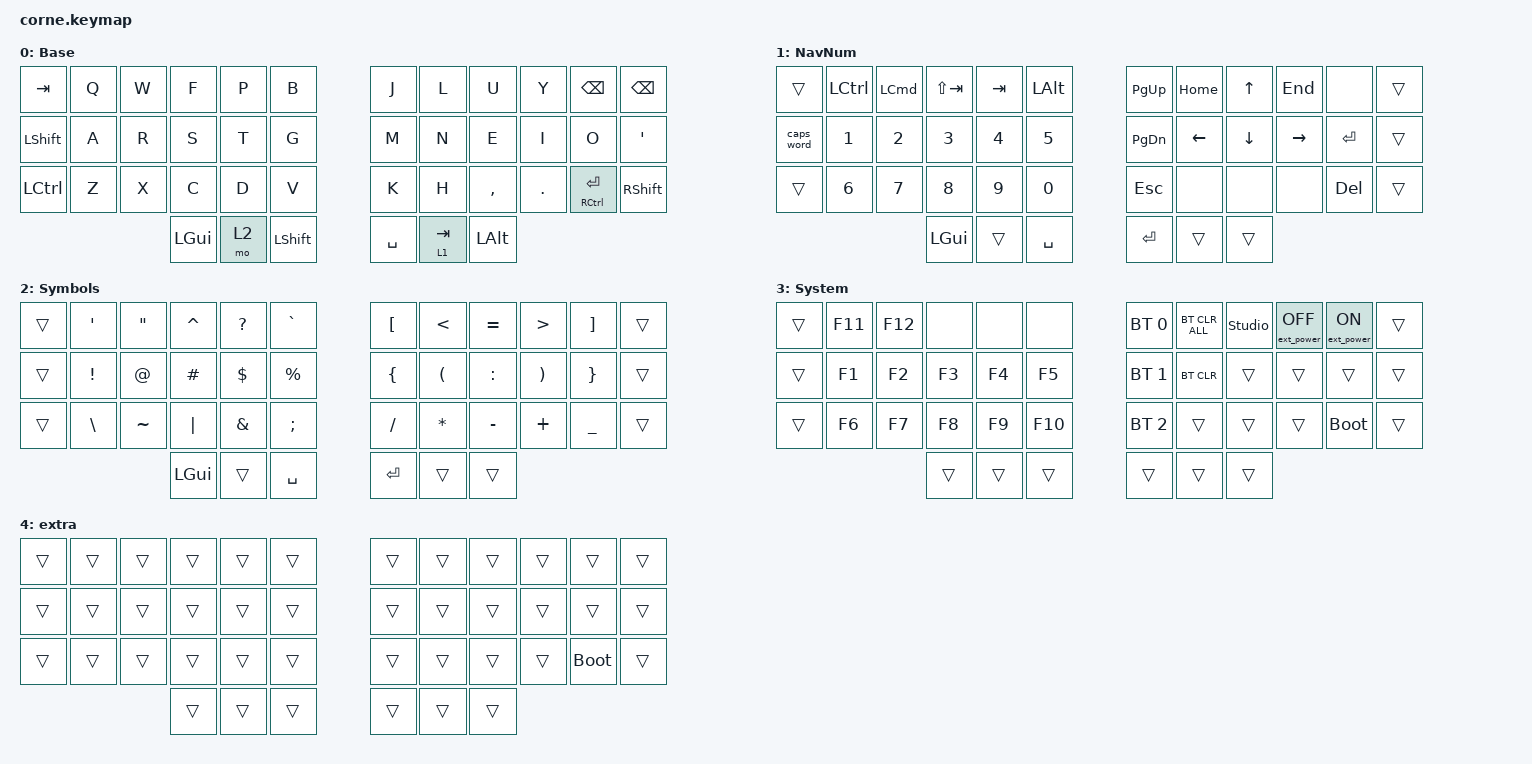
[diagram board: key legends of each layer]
#include <behaviors.dtsi>
#include <dt-bindings/zmk/bt.h>
#include <dt-bindings/zmk/ext_power.h>
#include <dt-bindings/zmk/keys.h>

#define DEF 0
#define NAV 1
#define SYM 2
#define ADJ 3
#define EXTRA 4

/ {
    behaviors {
        hm: homerow_mods {
            compatible = "zmk,behavior-hold-tap";
            label = "HOMEROW_MODS";
            #binding-cells = <2>;
            tapping-term-ms = <200>;
            quick_tap_ms = <0>;
            flavor = "tap-preferred";
            bindings = <&kp>, <&kp>;

            quick-tap-ms = <180>;
            global-quick-tap;
        };

        para: para {
            compatible = "zmk,behavior-tap-dance";
            label = "PARA";
            #binding-cells = <0>;
            bindings = <&kp LEFT_PARENTHESIS>, <&kp RIGHT_PARENTHESIS>;
        };

        caps: caps {
            compatible = "zmk,behavior-caps-word";
            label = "CAPS";
            #binding-cells = <0>;
            continue-list = <MINUS BACKSPACE>;
        };

        paraless: paraless {
            compatible = "zmk,behavior-mod-morph";
            label = "PARALESS";
            bindings = <&kp LEFT_PARENTHESIS>, <&kp LESS_THAN>;

            #binding-cells = <0>;
            mods = <(MOD_LSFT)>;
        };

        paragreat: paragreat {
            compatible = "zmk,behavior-mod-morph";
            label = "PARAGREAT";
            bindings = <&kp RIGHT_PARENTHESIS>, <&kp GREATER_THAN>;

            #binding-cells = <0>;
            mods = <(MOD_LSFT)>;
        };
    };

    macros {
        browsertab: browsertab {
            compatible = "zmk,behavior-macro";
            #binding-cells = <0>;
            bindings =
                <&macro_press>,
                <&kp LCTRL>,
                <&macro_tap>,
                <&kp TAB>,
                <&macro_release>,
                <&kp LCTRL>;
        };
    };

    combos {
        compatible = "zmk,combos";

        escape {
            bindings = <&kp ESCAPE>;
            key-positions = <13 29>;
        };

        delete {
            bindings = <&kp DELETE>;
            key-positions = <15 21>;
        };

        perc {
            bindings = <&kp PERCENT>;
            key-positions = <5 17>;
        };

        equal {
            bindings = <&kp EQUAL>;
            key-positions = <28 16>;
        };

        dollar {
            bindings = <&kp DOLLAR>;
            key-positions = <4 16>;
        };

        pound {
            bindings = <&kp POUND>;
            key-positions = <3 15>;
        };

        at {
            bindings = <&kp AT>;
            key-positions = <2 14>;
        };

        backslash {
            bindings = <&kp BACKSLASH>;
            key-positions = <26 14>;
        };

        copy {
            bindings = <&kp K_COPY>;
            key-positions = <28 27>;
        };

        paste {
            bindings = <&kp K_PASTE>;
            key-positions = <26 27>;
        };

        star {
            bindings = <&kp STAR>;
            key-positions = <8 20>;
        };

        slash {
            bindings = <&kp SLASH>;
            key-positions = <32 20>;
        };

        plus {
            bindings = <&kp PLUS>;
            key-positions = <7 19>;
        };

        minus {
            bindings = <&kp KP_MINUS>;
            key-positions = <31 19>;
        };

        underscore {
            bindings = <&kp UNDER>;
            key-positions = <30 18>;
        };

        leftbrack {
            bindings = <&kp LEFT_BRACKET>;
            key-positions = <31 32>;
        };

        rightbrack {
            bindings = <&kp RIGHT_BRACKET>;
            key-positions = <33 32>;
        };

        para-less {
            bindings = <&paraless>;
            key-positions = <20 19>;
        };

        para-great {
            bindings = <&paragreat>;
            key-positions = <20 21>;
        };
    };

    //

    keymap {
        compatible = "zmk,keymap";

        DEF {
            display-name = "Base";

            // -----------------------------------------------------------------------------------------
            // |  Q  |  W  |  E  |  R  |  T  |   |  Y  |  U   |  I  |  O  |  P  |
            // |  A  |  S  |  D  |  F  |  G  |   |  H  |  J   |  K  |  L  |  ;  |
            // |  Z  |  X  |  C  |  V  |  B  |   |  N  |  M   |  ,  |  .  |  /  |
            // | GUI | CTRL | SHFT | LWR | SPC |   | ENT | RSE  | BKSP | ALT | ESC |

            bindings = <
&kp TAB    &kp Q  &kp W  &kp F     &kp P  &kp B             &kp J      &kp L      &kp U         &kp Y    &kp BACKSPACE    &kp BACKSPACE
&kp LSHFT  &kp A  &kp R  &kp S     &kp T  &kp G             &kp M      &kp N      &kp E         &kp I    &kp O            &kp SQT
&kp LCTRL  &kp Z  &kp X  &kp C     &kp D  &kp V             &kp K      &kp H      &kp COMMA     &kp DOT  &mt RCTRL ENTER  &kp RSHFT
                         &kp LGUI  &mo 2  &kp LEFT_SHIFT    &kp SPACE  &lt 1 TAB  &kp LEFT_ALT
            >;
        };

        NAV {
            display-name = "NavNum";

            // -----------------------------------------------------------------------------------------
            // |  TAB |  1  |  2  |  3  |  4  |  5  |   |  6  |  7  |  8  |  9  |  0  | BKSP |
            // | BTCLR| BT1 | BT2 | BT3 | BT4 | BT5 |   | LFT | DWN |  UP | RGT |     |      |
            // | SHFT |     |     |     |     |     |   |     |     |     |     |     |      |
            // | GUI | CTRL | SHFT | LWR | SPC |   | ENT | RSE  | BKSP | ALT | ESC |

            bindings = <
&trans      &kp LEFT_CONTROL  &kp LEFT_COMMAND  &kp LS(TAB)   &kp TAB       &kp LEFT_ALT    &kp PAGE_UP    &kp HOME        &kp UP_ARROW    &kp END          &none       &trans
&caps_word  &kp NUMBER_1      &kp NUMBER_2      &kp NUMBER_3  &kp NUMBER_4  &kp N5          &kp PAGE_DOWN  &kp LEFT_ARROW  &kp DOWN_ARROW  &kp RIGHT_ARROW  &kp ENTER   &trans
&trans      &kp NUMBER_6      &kp N7            &kp NUMBER_8  &kp NUMBER_9  &kp NUMBER_0    &kp ESCAPE     &none           &none           &none            &kp DELETE  &trans
                                                &kp LGUI      &trans        &kp SPACE       &kp RET        &trans          &trans
            >;
        };

        SYM {
            display-name = "Symbols";

            // -----------------------------------------------------------------------------------------
            // |  TAB |  !  |  @  |  #  |  $  |  %  |   |  ^  |  &  |  *  |  (  |  )  | BKSP |
            // | CTRL |     |     |     |     |     |   |  -  |  =  |  [  |  ]  |  \  |  `   |
            // | SHFT |     |     |     |     |     |   |  _  |  +  |  {  |  }  | "|" |  ~   |
            //                    | GUI |     | SPC |   | ENT |     | ALT |

            bindings = <
&trans  &kp SINGLE_QUOTE  &kp DOUBLE_QUOTES  &kp CARET  &kp QUESTION   &kp GRAVE        &kp LEFT_BRACKET  &kp LESS_THAN         &kp EQUAL  &kp GREATER_THAN       &kp RIGHT_BRACKET  &trans
&trans  &kp EXCLAMATION   &kp AT             &kp HASH   &kp DOLLAR     &kp PERCENT      &kp LEFT_BRACE    &kp LEFT_PARENTHESIS  &kp COLON  &kp RIGHT_PARENTHESIS  &kp RIGHT_BRACE    &trans
&trans  &kp BACKSLASH     &kp TILDE          &kp PIPE   &kp AMPERSAND  &kp SEMICOLON    &kp SLASH         &kp ASTERISK          &kp MINUS  &kp PLUS               &kp UNDERSCORE     &trans
                                             &kp LGUI   &trans         &kp SPACE        &kp RET           &trans                &trans
            >;
        };

        ADJ {
            display-name = "System";
            bindings = <
&trans  &kp F11  &kp F12  &none   &none   &none      &bt BT_SEL 0  &bt BT_CLR_ALL  &studio_unlock  &ext_power EP_OFF  &ext_power EP_ON  &trans
&trans  &kp F1   &kp F2   &kp F3  &kp F4  &kp F5     &bt BT_SEL 1  &bt BT_CLR      &trans          &trans             &trans            &trans
&trans  &kp F6   &kp F7   &kp F8  &kp F9  &kp F10    &bt BT_SEL 2  &trans          &trans          &trans             &bootloader       &trans
                          &trans  &trans  &trans     &trans        &trans          &trans
            >;
        };

        EXTRA {
            display-name = "extra";
            bindings = <
&trans  &trans  &trans  &trans  &trans  &trans    &trans  &trans  &trans  &trans  &trans       &trans
&trans  &trans  &trans  &trans  &trans  &trans    &trans  &trans  &trans  &trans  &trans       &trans
&trans  &trans  &trans  &trans  &trans  &trans    &trans  &trans  &trans  &trans  &bootloader  &trans
                        &trans  &trans  &trans    &trans  &trans  &trans
            >;
        };
    };

    conditional_layers {
        compatible = "zmk,conditional-layers";

        l3 {
            if-layers = <1 2>;
            then-layer = <3>;
        };
    };
};
